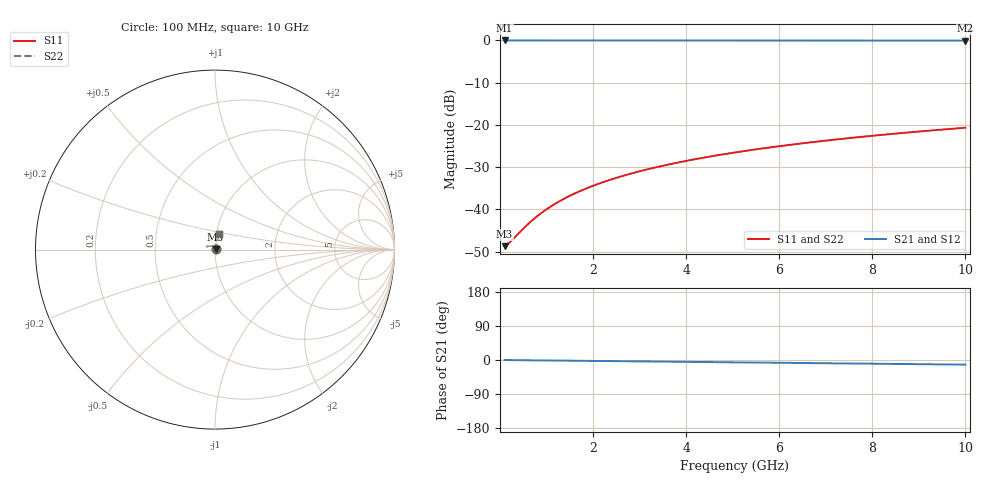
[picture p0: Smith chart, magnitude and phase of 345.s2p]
# Hz S RI R 50.00
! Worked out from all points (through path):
!   100 points, 100 MHz to 10 GHz, reference 50 ohm
!   highest |S21| = -0.03 dB at 100 MHz (marker M1); lowest = -0.1 dB at 10 GHz (marker M2)
!   group delay of S21, straight-line fit = 3.39 ps
!   lowest |S11| = -48.7 dB at 100 MHz (marker M3), VSWR 1.01, Z = 50.4 + j0.093 ohm
!   |S11| at or under -10 dB: start of sweep to end of sweep
!   |S22| runs from -48.7 to -20.7 dB; largest |S21 - S12| = 0
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1e8  0.00354 0.000923  0.9965 -0.00212  0.9965 -0.00212  0.00354 0.000923
2e8  0.00357 0.00185  0.9964 -0.00425  0.9964 -0.00425  0.00357 0.00185
6e8  0.00368 0.00554  0.9963 -0.0127  0.9963 -0.0127  0.00368 0.00554
7e8  0.00372 0.00646  0.9962 -0.0149  0.9962 -0.0149  0.00372 0.00646
9e8  0.0038 0.00831  0.9961 -0.0191  0.9961 -0.0191  0.0038 0.00831
1.1e9  0.00389 0.0102  0.996 -0.0233  0.996 -0.0233  0.00389 0.0102
1.3e9  0.004 0.012  0.9959 -0.0276  0.9959 -0.0276  0.004 0.012
1.5e9  0.00412 0.0138  0.9957 -0.0318  0.9957 -0.0318  0.00412 0.0138
1.8e9  0.00433 0.0166  0.9954 -0.0382  0.9954 -0.0382  0.00433 0.0166
2.1e9  0.00457 0.0194  0.9951 -0.0446  0.9951 -0.0446  0.00457 0.0194
2.5e9  0.00495 0.023  0.9946 -0.053  0.9946 -0.053  0.00495 0.023
2.9e9  0.00539 0.0267  0.994 -0.0615  0.994 -0.0615  0.00539 0.0267
3.4e9  0.00602 0.0313  0.9931 -0.0721  0.9931 -0.0721  0.00602 0.0313
3.8e9  0.0066 0.0349  0.9923 -0.0805  0.9923 -0.0805  0.0066 0.0349
4.2e9  0.00724 0.0385  0.9914 -0.089  0.9914 -0.089  0.00724 0.0385
4.6e9  0.00794 0.0422  0.9905 -0.0974  0.9905 -0.0974  0.00794 0.0422
5.1e9  0.0089 0.0467  0.9892 -0.1079  0.9892 -0.1079  0.0089 0.0467
5.9e9  0.0106 0.0538  0.9868 -0.1247  0.9868 -0.1247  0.0106 0.0538
6.7e9  0.0126 0.0609  0.9841 -0.1414  0.9841 -0.1414  0.0126 0.0609
7.5e9  0.0148 0.0679  0.981 -0.1581  0.981 -0.1581  0.0148 0.0679
8.4e9  0.0176 0.0757  0.9772 -0.1767  0.9772 -0.1767  0.0176 0.0757
1e10  0.0233 0.0893  0.9693 -0.2096  0.9693 -0.2096  0.0233 0.0893
